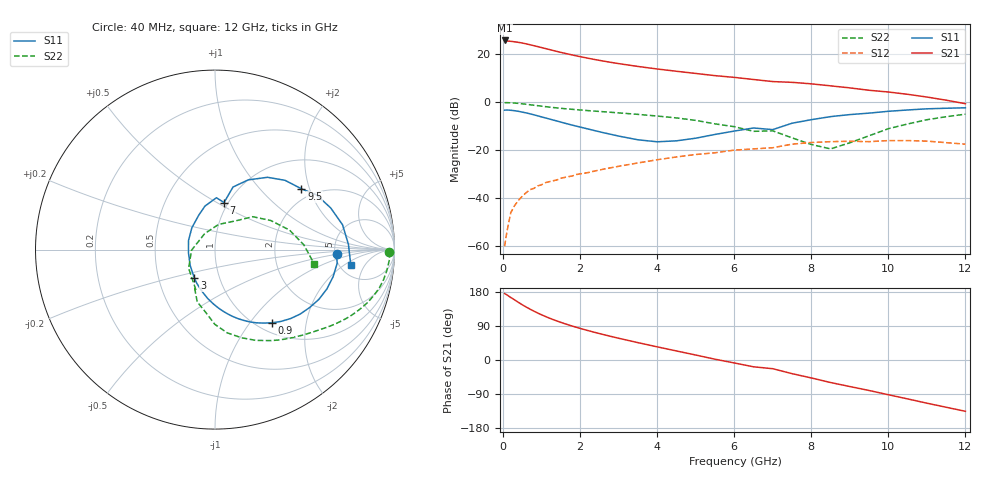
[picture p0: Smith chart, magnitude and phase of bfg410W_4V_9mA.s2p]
! Filename: 49bfg410.001
! BFG410W Field B1
! V1=8.589E-001V,V2=4.000E+000V, I1=1.232E-004A, I2=9.010E-003A
# GHz  S  MA  R 50
!  S11  S21  S12  S22
!Freq(GHz)  Mag  Ang  Mag  Ang  Mag  Ang  Mag  Ang
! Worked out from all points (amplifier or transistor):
!   44 points, 40 MHz to 12 GHz, reference 50 ohm
!   highest |S21| = 25.7 dB at 40 MHz (marker M1)
!   |S21| within 3 dB of that: start of sweep to 1.008 GHz
!   unconditionally stable (mu >= 1): start of sweep to 51.07 MHz; 2.056 GHz to end of sweep
!   at 700 MHz: K = 0.49, MSG = 30.2 dB, |S12| = -36.5 dB
!   at 2.4 GHz: K = 1.08, MAG = 21.4 dB, |S12| = -28.6 dB
!   at 12 GHz: K = 1.51, MAG = 4.2 dB, |S12| = -17.5 dB
!   S11 on the Smith chart (normalised r, x): 40 MHz: 5.16, -0.51; 900 MHz: 1.16, -1.29; 3 GHz: 0.76, -0.25; 7 GHz: 0.96, +0.54; 9.5 GHz: 1.70, +1.77; 12 GHz: 6.32, -2.55
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0.04  0.678 -2.3  19.19 175.3  0.001 49.8  0.972 -0.8
0.2  0.675 -13.0  18.4 165.0  0.005 77.2  0.965 -6.8
0.3  0.661 -19.3  18 158.6  0.007 76.2  0.954 -10.1
0.5  0.618 -31.5  16.95 145.6  0.011 70.5  0.92 -16.2
0.7  0.57 -42.4  15.61 134.3  0.015 66.4  0.88 -21.5
0.9  0.517 -52.1  14.29 123.9  0.018 63.3  0.841 -26.1
1.2  0.445 -64.6  12.43 110.6  0.022 59.6  0.787 -31.8
1.5  0.383 -75.6  10.84 99.3  0.026 57.2  0.742 -36.6
1.8  0.331 -85.6  9.553 89.4  0.029 55.2  0.706 -41.0
2.2  0.276 -98.3  8.201 77.8  0.034 53.0  0.665 -46.8
2.6  0.231 -111.5  7.15 67.2  0.04 50.6  0.63 -52.5
3  0.196 -125.9  6.328 57.4  0.046 47.8  0.596 -58.3
3.5  0.164 -147.5  5.522 45.8  0.054 43.6  0.555 -65.8
4.5  0.156 161.1  4.383 23.9  0.072 32.4  0.468 -81.8
5.5  0.212 115.3  3.553 2.1  0.088 17.9  0.352 -98.6
6.5  0.289 88.4  2.954 -17.9  0.106 4.4  0.246 -117.3
7  0.267 79.1  2.672 -23.0  0.112 9.3  0.252 -114.6
7.5  0.363 73.9  2.577 -36.0  0.133 -5.9  0.18 -144.7
8.5  0.498 54.0  2.178 -59.4  0.15 -29.2  0.106 122.9
9.5  0.589 35.1  1.762 -80.4  0.15 -49.3  0.199 53.8
10.5  0.685 19.8  1.452 -102.6  0.158 -70.2  0.35 27.6
12  0.761 -6.4  0.925 -135.4  0.133 -109.0  0.56 -8.4
